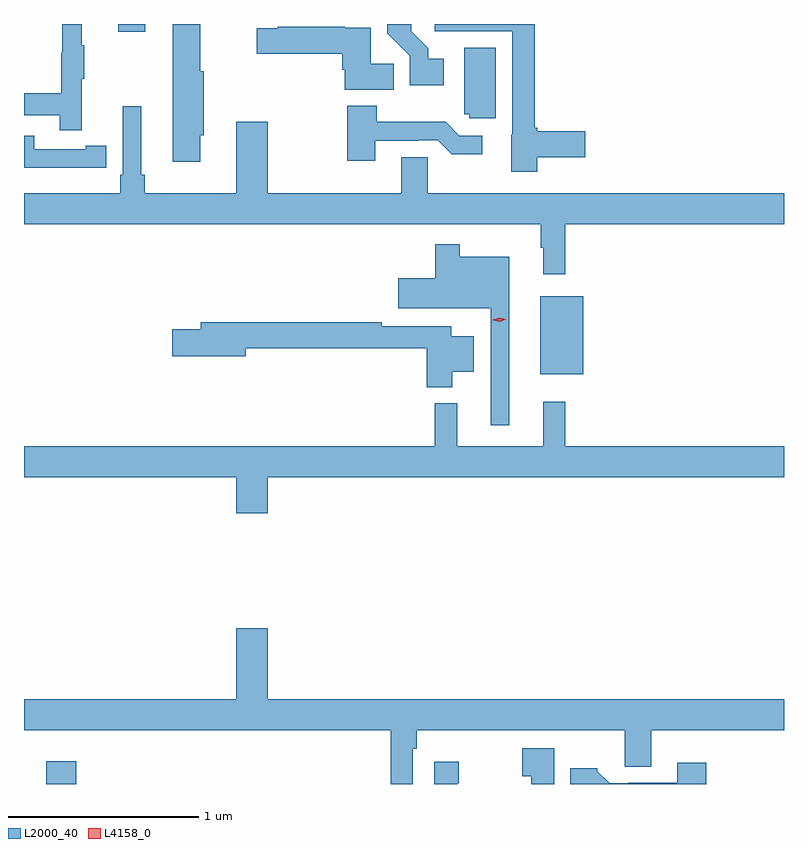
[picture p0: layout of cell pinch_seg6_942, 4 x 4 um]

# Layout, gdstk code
import gdstk
lib = gdstk.Library(unit=1e-6, precision=1e-09)
def R(c, l, rs):  # rectangles x0, y0, x1, y1
    for r in rs: c.add(gdstk.rectangle(r[:2], r[2:], *l))
def P(c, l, *ps):  # polygons
    for p in ps: c.add(gdstk.Polygon(p, *l))
L2000_40 = (2000, 40)
L4158_0 = (4158, 0)

pinch_seg6_942 = lib.new_cell('pinch_seg6_942')
R(pinch_seg6_942, L2000_40, [(283.886,916.418,284.045,916.537), (286.487,918.575,286.714,918.985), (284.267,920.376,284.407,920.418)])
P(pinch_seg6_942, L2000_40, [(284.698,919.833),(284.716,919.833),(284.716,920.169),(284.698,920.169),(284.698,920.418),(284.552,920.418),(284.552,919.692),(284.698,919.692)],
  [(285.979,920.236),(285.898,920.236),(285.898,920.291),(285.808,920.381),(285.808,920.418),(285.682,920.418),(285.682,920.37),(285.801,920.251),(285.801,920.096),(285.979,920.096)],
  [(284.075,920.131),(284.086,920.131),(284.086,920.305),(284.075,920.305),(284.075,920.418),(283.972,920.418),(283.972,920.268),(283.965,920.268),(283.965,920.054),(283.77,920.054),(283.77,919.938),(283.957,919.938),(283.957,919.86),(284.075,919.86)],
  [(286.47,919.718),(286.723,919.718),(286.723,919.853),(286.47,919.853),(286.47,919.871),(286.457,919.871),(286.457,920.418),(285.933,920.418),(285.933,920.379),(286.341,920.379),(286.341,919.836),(286.334,919.836),(286.334,919.64),(286.47,919.64)],
  [(285.716,920.21),(285.595,920.21),(285.595,920.398),(285.462,920.398),(285.462,920.403),(285.106,920.403),(285.106,920.395),(284.994,920.395),(284.994,920.261),(285.446,920.261),(285.446,920.177),(285.458,920.177),(285.458,920.072),(285.716,920.072)],
  [(286.252,920.293),(286.088,920.293),(286.088,919.944),(286.113,919.944),(286.113,919.923),(286.252,919.923)],
  [(285.619,919.803),(285.848,919.803),(285.848,919.806),(285.948,919.806),(286.021,919.733),(286.183,919.733),(286.183,919.83),(286.062,919.83),(285.989,919.903),(285.627,919.903),(285.627,919.987),(285.472,919.987),(285.472,919.698),(285.619,919.698)],
  [(286.619,919.364),(287.77,919.364),(287.77,919.528),(285.894,919.528),(285.894,919.718),(285.755,919.718),(285.755,919.528),(285.052,919.528),(285.052,919.903),(284.888,919.903),(284.888,919.528),(284.405,919.528),(284.405,919.624),(284.386,919.624),(284.386,919.984),(284.289,919.984),(284.289,919.624),(284.276,919.624),(284.276,919.528),(283.77,919.528),(283.77,919.364),(286.491,919.364),(286.491,919.241),(286.502,919.241),(286.502,919.101),(286.619,919.101)],
  [(284.096,919.662),(284.204,919.662),(284.204,919.778),(284.096,919.778),(284.096,919.758),(283.824,919.758),(283.824,919.83),(283.77,919.83),(283.77,919.661),(284.096,919.661)],
  [(286.324,919.192),(286.063,919.192),(286.063,919.258),(285.934,919.258),(285.934,919.081),(285.741,919.081),(285.741,918.923),(286.227,918.923),(286.227,918.306),(286.324,918.306)],
  [(286.024,918.587),(286.138,918.587),(286.138,918.775),(286.018,918.775),(286.018,918.828),(285.653,918.828),(285.653,918.848),(284.699,918.848),(284.699,918.812),(284.55,918.812),(284.55,918.67),(284.938,918.67),(284.938,918.712),(285.89,918.712),(285.89,918.506),(286.024,918.506)],
  [(285.052,918.032),(287.77,918.032),(287.77,918.196),(286.619,918.196),(286.619,918.43),(286.502,918.43),(286.502,918.196),(286.049,918.196),(286.049,918.421),(285.931,918.421),(285.931,918.196),(283.77,918.196),(283.77,918.032),(284.888,918.032),(284.888,917.844),(285.052,917.844)],
  [(285.052,917.239),(284.888,917.239),(284.888,916.864),(283.77,916.864),(283.77,916.7),(285.7,916.7),(285.7,916.418),(285.816,916.418),(285.816,916.604),(285.836,916.604),(285.836,916.7),(286.931,916.7),(286.931,916.51),(287.071,916.51),(287.071,916.7),(287.77,916.7),(287.77,916.864),(285.052,916.864)],
  [(286.561,916.606),(286.393,916.606),(286.393,916.459),(286.439,916.459),(286.439,916.418),(286.561,916.418)],
  [(286.051,916.421),(286.059,916.421),(286.059,916.534),(285.929,916.534),(285.929,916.418),(286.051,916.418)],
  [(287.36,916.531),(287.207,916.531),(287.207,916.425),(286.951,916.425),(286.951,916.422),(286.852,916.422),(286.788,916.486),(286.788,916.501),(286.646,916.501),(286.646,916.418),(287.36,916.418)])
P(pinch_seg6_942, L4158_0, [(286.273,918.852),(286.237,918.86),(286.237,918.861),(286.237,918.861),(286.272,918.872),(286.308,918.863),(286.308,918.863),(286.308,918.863)])

lib.write_gds('pinch_seg6_942.gds')
